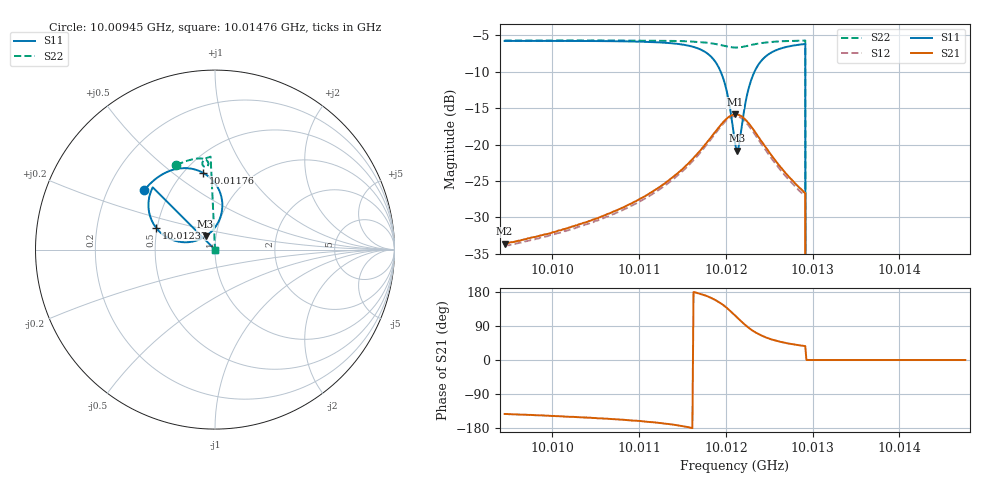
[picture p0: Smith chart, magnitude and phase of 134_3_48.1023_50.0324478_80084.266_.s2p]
#  HZ  S  RI  R  50.00
! Rohde & Schwarz Vector Network Analyzer
! Rohde-Schwarz,ZNB20-2Port,1311601062101988,3.16
! Created: UTC 12/23/2023, 3:48:06 AM
! freq[Hz]  re:S11  im:S11  re:S21  im:S21  re:S12  im:S12  re:S22  im:S22
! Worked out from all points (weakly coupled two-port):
!   401 points, 10.00945 GHz to 10.01476 GHz, reference 50 ohm
!   highest |S21| = -15.85 dB at 10.01211 GHz (marker M1); lowest = -33.6 dB at 10.00945 GHz (marker M2)
!   lowest |S11| = -20.8 dB at 10.01213 GHz (marker M3), VSWR 1.20, Z = 44.6 + j6.67 ohm
!   |S11| at or under -10 dB: 10.01194 GHz to 10.01233 GHz (389.3 kHz wide, 0.00389 % of centre); 10.01292 GHz to end of sweep
!   |S22| runs from - to -5.7 dB; largest |S21 - S12| = 0.0083
!   S11 on the Smith chart (normalised r, x): 10.00945 GHz: 0.36, +0.32; 10.01176 GHz: 0.62, +0.65; 10.01237 GHz: 0.49, +0.14; 10.01476 GHz: 1.00, +0.00
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1.0009448e10  -0.3937 0.3317  -0.0165 -0.0127  -0.0153 -0.013  -0.2148 0.4712
1.0010338e10  -0.3387 0.3874  -0.0251 -0.0137  -0.0236 -0.0142  -0.1595 0.4936
1.0010816e10  -0.2954 0.4179  -0.0342 -0.014  -0.0323 -0.0149  -0.1275 0.5027
1.0011228e10  -0.2378 0.4436  -0.0492 -0.0125  -0.0468 -0.0142  -0.0972 0.5076
1.001152e10  -0.1674 0.454  -0.0695 -0.00545  -0.0667 -0.00922  -0.0726 0.5075
1.001176e10  -0.0666 0.4279  -0.0983 0.0163  -0.0959 0.0111  -0.0498 0.4997
1.0011879e10  0.000202 0.3697  -0.1138 0.0456  -0.1128 0.039  -0.0398 0.4892
1.0011959e10  0.0353 0.2943  -0.1174 0.0767  -0.1178 0.0693  -0.0367 0.4785
1.0012025e10  0.0372 0.2074  -0.1077 0.1094  -0.1095 0.1022  -0.0395 0.4687
1.0012105e10  -0.0194 0.1009  -0.0744 0.1431  -0.0783 0.1361  -0.0497 0.4611
1.0012132e10  -0.0522 0.0742  -0.0595 0.1492  -0.0631 0.1433  -0.0541 0.4608
1.0012158e10  -0.0898 0.055  -0.0438 0.1527  -0.0469 0.147  -0.0585 0.4617
1.0012225e10  -0.1877 0.042  -0.00537 0.1483  -0.0101 0.1429  -0.067 0.4681
1.0012264e10  -0.2392 0.0548  0.0131 0.1387  0.00813 0.1341  -0.0697 0.4738
1.0012318e10  -0.2927 0.0855  0.0305 0.1228  0.025 0.1189  -0.0707 0.4817
1.0012371e10  -0.3287 0.1224  0.0405 0.1063  0.0354 0.1031  -0.0689 0.4888
1.0012557e10  -0.3704 0.2352  0.0486 0.063  0.044 0.0617  -0.055 0.5055
1.0012889e10  -0.3497 0.3414  0.0381 0.0291  0.0346 0.0295  -0.0268 0.5168
1.0012955e10  0 0  0 0  0 0  0 0
1.0012995e10  0 0  0 0  0 0  0 0
1.0013885e10  0 0  0 0  0 0  0 0
1.0014762e10  0 0  0 0  0 0  0 0
